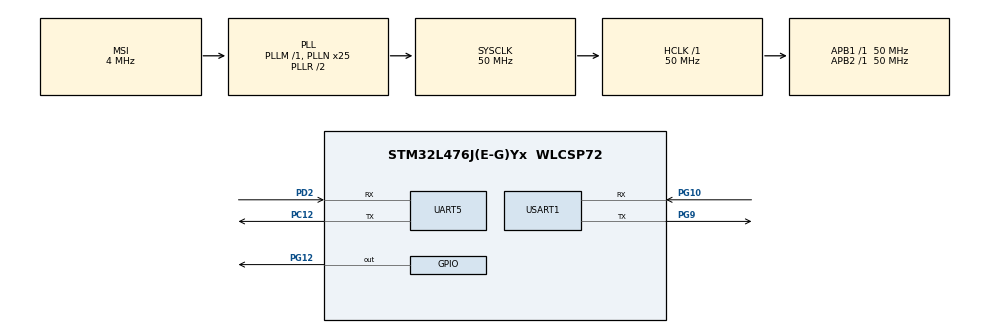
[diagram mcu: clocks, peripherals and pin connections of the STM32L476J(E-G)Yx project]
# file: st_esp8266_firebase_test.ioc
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Mcu.Family=STM32L4
Mcu.Name=STM32L476J(E-G)Yx
Mcu.Package=WLCSP72
NVIC.PriorityGroup=NVIC_PRIORITYGROUP_4
NVIC.UART5_IRQn=true\:0\:0\:false\:false\:true\:true\:true
NVIC.USART1_IRQn=true\:0\:0\:false\:false\:true\:true\:true
PC12.Mode=Asynchronous
PC12.Signal=UART5_TX
PD2.Mode=Asynchronous
PD2.Signal=UART5_RX
PG10.Mode=Asynchronous
PG10.Signal=USART1_RX
PG12.Signal=GPIO_Output
PG9.Mode=Asynchronous
PG9.Signal=USART1_TX
PH0-OSC_IN\ (PH0).Mode=HSE-External-Oscillator
PH0-OSC_IN\ (PH0).Signal=RCC_OSC_IN
PH1-OSC_OUT\ (PH1).Mode=HSE-External-Oscillator
PH1-OSC_OUT\ (PH1).Signal=RCC_OSC_OUT
ProjectManager.HeapSize=0x200
ProjectManager.StackSize=0x400
ProjectManager.TargetToolchain=SW4STM32
RCC.AHBFreq_Value=50000000
RCC.APB1Freq_Value=50000000
RCC.APB1TimFreq_Value=50000000
RCC.APB2Freq_Value=50000000
RCC.APB2TimFreq_Value=50000000
RCC.CortexFreq_Value=50000000
RCC.HCLKFreq_Value=50000000
RCC.HSE_VALUE=8000000
RCC.HSI_VALUE=16000000
RCC.LSE_VALUE=32768
RCC.MSI_VALUE=4000000
RCC.PLLN=25
RCC.SYSCLKFreq_VALUE=50000000
RCC.SYSCLKSource=RCC_SYSCLKSOURCE_PLLCLK
RCC.VCOOutputFreq_Value=100000000
USART1.VirtualMode-Asynchronous=VM_ASYNC
board=custom

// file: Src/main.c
/* USER CODE BEGIN Header */
/**
 ******************************************************************************
 * @file           : main.c
 * @brief          : Main program body
 ******************************************************************************
 * @attention
 *
 * <h2><center>&copy; Copyright (c) 2020 STMicroelectronics.
 * All rights reserved.</center></h2>
 *
 * This software component is licensed by ST under BSD 3-Clause license,
 * the "License"; You may not use this file except in compliance with the
 * License. You may obtain a copy of the License at:
 *                        opensource.org/licenses/BSD-3-Clause
 *
 ******************************************************************************
 */
/* USER CODE END Header */

#include "main.h"
#include "ESP8266_HAL.h"
#include "UartRingbuffer_multi.h"

UART_HandleTypeDef huart5;
UART_HandleTypeDef huart1;

/* USER CODE BEGIN PV */
#define wifi_uart &huart1
#define pc_uart &huart5
/* USER CODE END PV */

void SystemClock_Config(void);
static void MX_GPIO_Init(void);
static void MX_UART5_Init(void);
static void MX_USART1_UART_Init(void);

int main(void) {

    /* MCU Configuration--------------------------------------------------------*/

    /* Reset of all peripherals, Initializes the Flash interface and the Systick. */
    HAL_Init();

    /* Configure the system clock */
    SystemClock_Config();

    /* Initialize all configured peripherals */
    MX_GPIO_Init();
    MX_UART5_Init();
    MX_USART1_UART_Init();
    /* USER CODE BEGIN 2 */

    Ringbuf_init();

    Uart_sendstring("AT\r\n", wifi_uart);
    Uart_sendstring("AT+RST\r\n", wifi_uart);
    Uart_sendstring("AT+CWMODE=1\r\n", wifi_uart);
    Uart_sendstring("AT+CWLAP\r\n", wifi_uart);
    Uart_sendstring("AT+CWJAP=\"test\",\"12345678\"\r\n", wifi_uart);
    Uart_sendstring("AT+CIPMUX=1\r\n", wifi_uart);
    Uart_sendstring("AT+CIFSR\r\n", wifi_uart);
    Uart_sendstring("AT+CIPSTART=4,\"TCP\",\"httpbin.org/get\",80\r\n",
            wifi_uart);
    Uart_sendstring("AT+CIPSEND=4,50\r\n", wifi_uart);
    Uart_sendstring("GET/HTTP/1.1\r\nhttp://httpbin.org/get\r\n\r\n\r\n", wifi_uart);
    Uart_sendstring("AT+CIPSEND\r\n", wifi_uart);
    Uart_sendstring("Sending data\r\n", pc_uart);
    //Uart_sendstring("RESETTING.\r\n", pc_uart);
    /* USER CODE END 2 */

    /* Infinite loop */
    while (1) {

    }
}

void SystemClock_Config(void) {
    RCC_OscInitTypeDef RCC_OscInitStruct = { 0 };
    RCC_ClkInitTypeDef RCC_ClkInitStruct = { 0 };
    RCC_PeriphCLKInitTypeDef PeriphClkInit = { 0 };

    /** Initializes the CPU, AHB and APB busses clocks
     */
    RCC_OscInitStruct.OscillatorType = RCC_OSCILLATORTYPE_MSI;
    RCC_OscInitStruct.MSIState = RCC_MSI_ON;
    RCC_OscInitStruct.MSICalibrationValue = 0;
    RCC_OscInitStruct.MSIClockRange = RCC_MSIRANGE_6;
    RCC_OscInitStruct.PLL.PLLState = RCC_PLL_ON;
    RCC_OscInitStruct.PLL.PLLSource = RCC_PLLSOURCE_MSI;
    RCC_OscInitStruct.PLL.PLLM = 1;
    RCC_OscInitStruct.PLL.PLLN = 25;
    RCC_OscInitStruct.PLL.PLLP = RCC_PLLP_DIV7;
    RCC_OscInitStruct.PLL.PLLQ = RCC_PLLQ_DIV2;
    RCC_OscInitStruct.PLL.PLLR = RCC_PLLR_DIV2;
    if (HAL_RCC_OscConfig(&RCC_OscInitStruct) != HAL_OK) {
        Error_Handler();
    }
    /** Initializes the CPU, AHB and APB busses clocks
     */
    RCC_ClkInitStruct.ClockType = RCC_CLOCKTYPE_HCLK | RCC_CLOCKTYPE_SYSCLK
            | RCC_CLOCKTYPE_PCLK1 | RCC_CLOCKTYPE_PCLK2;
    RCC_ClkInitStruct.SYSCLKSource = RCC_SYSCLKSOURCE_PLLCLK;
    RCC_ClkInitStruct.AHBCLKDivider = RCC_SYSCLK_DIV1;
    RCC_ClkInitStruct.APB1CLKDivider = RCC_HCLK_DIV1;
    RCC_ClkInitStruct.APB2CLKDivider = RCC_HCLK_DIV1;

    if (HAL_RCC_ClockConfig(&RCC_ClkInitStruct, FLASH_LATENCY_3) != HAL_OK) {
        Error_Handler();
    }
    PeriphClkInit.PeriphClockSelection = RCC_PERIPHCLK_USART1
            | RCC_PERIPHCLK_UART5;
    PeriphClkInit.Usart1ClockSelection = RCC_USART1CLKSOURCE_PCLK2;
    PeriphClkInit.Uart5ClockSelection = RCC_UART5CLKSOURCE_PCLK1;
    if (HAL_RCCEx_PeriphCLKConfig(&PeriphClkInit) != HAL_OK) {
        Error_Handler();
    }
    /** Configure the main internal regulator output voltage
     */
    if (HAL_PWREx_ControlVoltageScaling(PWR_REGULATOR_VOLTAGE_SCALE1)
            != HAL_OK) {
        Error_Handler();
    }
}

static void MX_UART5_Init(void) {

    huart5.Instance = UART5;
    huart5.Init.BaudRate = 115200;
    huart5.Init.WordLength = UART_WORDLENGTH_8B;
    huart5.Init.StopBits = UART_STOPBITS_1;
    huart5.Init.Parity = UART_PARITY_NONE;
    huart5.Init.Mode = UART_MODE_TX_RX;
    huart5.Init.HwFlowCtl = UART_HWCONTROL_NONE;
    huart5.Init.OverSampling = UART_OVERSAMPLING_16;
    huart5.Init.OneBitSampling = UART_ONE_BIT_SAMPLE_DISABLE;
    huart5.AdvancedInit.AdvFeatureInit = UART_ADVFEATURE_NO_INIT;
    if (HAL_UART_Init(&huart5) != HAL_OK) {
        Error_Handler();
    }

}

static void MX_USART1_UART_Init(void) {

    huart1.Instance = USART1;
    huart1.Init.BaudRate = 115200;
    huart1.Init.WordLength = UART_WORDLENGTH_8B;
    huart1.Init.StopBits = UART_STOPBITS_1;
    huart1.Init.Parity = UART_PARITY_NONE;
    huart1.Init.Mode = UART_MODE_TX_RX;
    huart1.Init.HwFlowCtl = UART_HWCONTROL_NONE;
    huart1.Init.OverSampling = UART_OVERSAMPLING_16;
    huart1.Init.OneBitSampling = UART_ONE_BIT_SAMPLE_DISABLE;
    huart1.AdvancedInit.AdvFeatureInit = UART_ADVFEATURE_NO_INIT;
    if (HAL_UART_Init(&huart1) != HAL_OK) {
        Error_Handler();
    }

}

static void MX_GPIO_Init(void) {
    GPIO_InitTypeDef GPIO_InitStruct = { 0 };

    /* GPIO Ports Clock Enable */
    __HAL_RCC_GPIOD_CLK_ENABLE()
    ;
    __HAL_RCC_GPIOG_CLK_ENABLE()
    ;
    HAL_PWREx_EnableVddIO2();
    __HAL_RCC_GPIOC_CLK_ENABLE()
    ;
    __HAL_RCC_GPIOH_CLK_ENABLE()
    ;

    /*Configure GPIO pin Output Level */
    HAL_GPIO_WritePin(GPIOG, GPIO_PIN_12, GPIO_PIN_RESET);

    /*Configure GPIO pin : PG12 */
    GPIO_InitStruct.Pin = GPIO_PIN_12;
    GPIO_InitStruct.Mode = GPIO_MODE_OUTPUT_PP;
    GPIO_InitStruct.Pull = GPIO_NOPULL;
    GPIO_InitStruct.Speed = GPIO_SPEED_FREQ_LOW;
    HAL_GPIO_Init(GPIOG, &GPIO_InitStruct);

}

void Error_Handler(void) {
}

/************************ (C) COPYRIGHT STMicroelectronics *****END OF FILE****/
